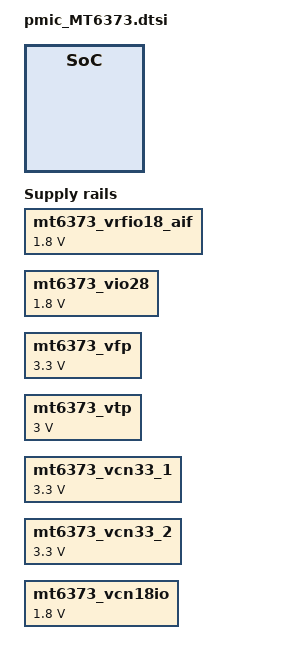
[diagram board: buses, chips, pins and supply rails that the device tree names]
#if 0 && 0
&mt6373_vusb {
    regulator-min-microvolt = <0>;
    regulator-max-microvolt = <0>;
    
     
};
#endif

#if 0 && 0
&mt6373_vaux18 {
    regulator-min-microvolt = <0>;
    regulator-max-microvolt = <0>;
    
     
};
#endif

#if 0 && 0
&mt6373_vrf13_aif {
    regulator-min-microvolt = <0>;
    regulator-max-microvolt = <0>;
    
     
};
#endif

#if 0 && 0
&mt6373_vrf18_aif {
    regulator-min-microvolt = <0>;
    regulator-max-microvolt = <0>;
    
     
};
#endif

#if 1800000 && 1800000
&mt6373_vrfio18_aif {
    regulator-min-microvolt = <1800000>;
    regulator-max-microvolt = <1800000>;
    
     
};
#endif

#if 0 && 0
&mt6373_vrf09_aif {
    regulator-min-microvolt = <0>;
    regulator-max-microvolt = <0>;
    
     
};
#endif

#if 0 && 0
&mt6373_vrf12_aif {
    regulator-min-microvolt = <0>;
    regulator-max-microvolt = <0>;
    
     
};
#endif

#if 0 && 0
&mt6373_vant18 {
    regulator-min-microvolt = <0>;
    regulator-max-microvolt = <0>;
    
     
};
#endif

#if 0 && 0
&mt6373_vsram_digrf_aif {
    regulator-min-microvolt = <0>;
    regulator-max-microvolt = <0>;
    
     
};
#endif

#if 0 && 0
&mt6373_vibr {
    regulator-min-microvolt = <0>;
    regulator-max-microvolt = <0>;
    
     
};
#endif

#if 1800000 && 1800000
&mt6373_vio28 {
    regulator-min-microvolt = <1800000>;
    regulator-max-microvolt = <1800000>;
    regulator-always-on;regulator-boot-on;
     
};
#endif

#if 3300000 && 3300000
&mt6373_vfp {
    regulator-min-microvolt = <3300000>;
    regulator-max-microvolt = <3300000>;
    
     
};
#endif

#if 3000000 && 3000000
&mt6373_vtp {
    regulator-min-microvolt = <3000000>;
    regulator-max-microvolt = <3000000>;
    regulator-boot-on;regulator-always-on;
     
};
#endif

#if 0 && 0
&mt6373_vmch {
    regulator-min-microvolt = <0>;
    regulator-max-microvolt = <0>;
    
     
};
#endif

#if 0 && 0
&mt6373_vmc {
    regulator-min-microvolt = <0>;
    regulator-max-microvolt = <0>;
    
     
};
#endif

#if 0 && 0
&mt6373_vaud18 {
    regulator-min-microvolt = <0>;
    regulator-max-microvolt = <0>;
    
     
};
#endif

#if 3300000 && 3300000
&mt6373_vcn33_1 {
    regulator-min-microvolt = <3300000>;
    regulator-max-microvolt = <3300000>;
    
     
};
#endif

#if 3300000 && 3300000
&mt6373_vcn33_2 {
    regulator-min-microvolt = <3300000>;
    regulator-max-microvolt = <3300000>;
    
     
};
#endif

#if 0 && 0
&mt6373_vcn33_3 {
    regulator-min-microvolt = <0>;
    regulator-max-microvolt = <0>;
    
     
};
#endif

#if 1800000 && 1800000
&mt6373_vcn18io {
    regulator-min-microvolt = <1800000>;
    regulator-max-microvolt = <1800000>;
    
     
};
#endif

#if 0 && 0
&mt6373_vefuse {
    regulator-min-microvolt = <0>;
    regulator-max-microvolt = <0>;
    
     
};
#endif

#if 0 && 0
&mt6373_vmch_eint_high {
    regulator-min-microvolt = <0>;
    regulator-max-microvolt = <0>;
    
     
};
#endif

#if 0 && 0
&mt6373_vmch_eint_low {
    regulator-min-microvolt = <0>;
    regulator-max-microvolt = <0>;
    
     
};
#endif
